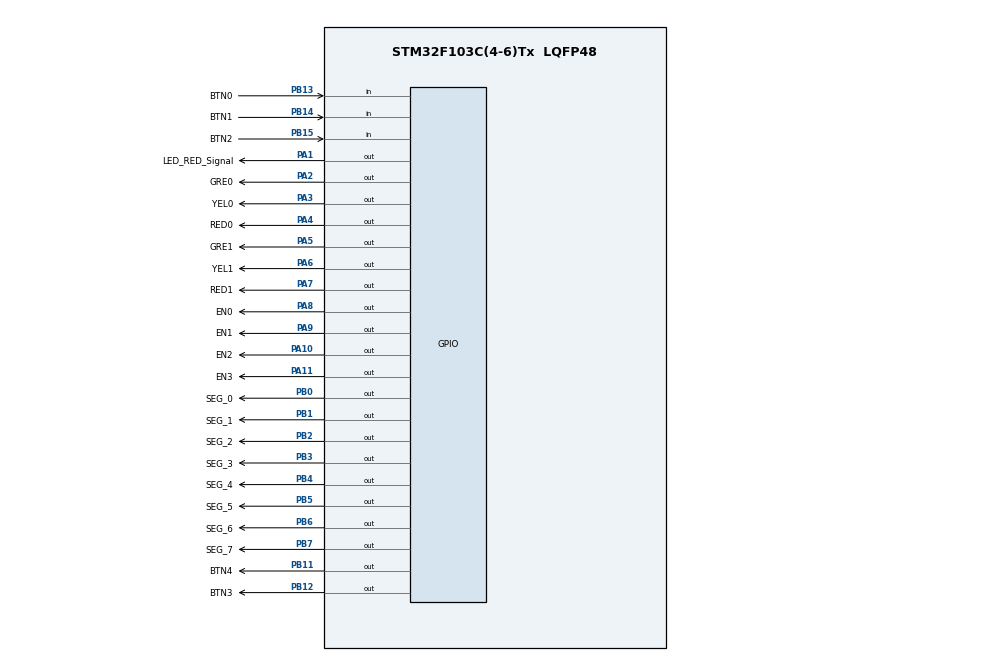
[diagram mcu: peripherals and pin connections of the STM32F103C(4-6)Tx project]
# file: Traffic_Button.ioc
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Mcu.Family=STM32F1
Mcu.Name=STM32F103C(4-6)Tx
Mcu.Package=LQFP48
NVIC.PriorityGroup=NVIC_PRIORITYGROUP_4
NVIC.TIM2_IRQn=true\:0\:0\:false\:false\:true\:true\:true\:true
PA1.GPIO_Label=LED_RED_Signal
PA1.Signal=GPIO_Output
PA10.GPIO_Label=EN2
PA10.Signal=GPIO_Output
PA11.GPIO_Label=EN3
PA11.Signal=GPIO_Output
PA2.GPIO_Label=GRE0
PA2.Signal=GPIO_Output
PA3.GPIO_Label=YEL0
PA3.Signal=GPIO_Output
PA4.GPIO_Label=RED0
PA4.Signal=GPIO_Output
PA5.GPIO_Label=GRE1
PA5.Signal=GPIO_Output
PA6.GPIO_Label=YEL1
PA6.Signal=GPIO_Output
PA7.GPIO_Label=RED1
PA7.Signal=GPIO_Output
PA8.GPIO_Label=EN0
PA8.Signal=GPIO_Output
PA9.GPIO_Label=EN1
PA9.Signal=GPIO_Output
PB0.GPIO_Label=SEG_0
PB0.Signal=GPIO_Output
PB1.GPIO_Label=SEG_1
PB1.Signal=GPIO_Output
PB11.GPIO_Label=BTN4
PB11.Signal=GPIO_Output
PB12.GPIO_Label=BTN3
PB12.Signal=GPIO_Output
PB13.GPIO_Label=BTN0
PB13.Signal=GPIO_Input
PB14.GPIO_Label=BTN1
PB14.Signal=GPIO_Input
PB15.GPIO_Label=BTN2
PB15.Signal=GPIO_Input
PB2.GPIO_Label=SEG_2
PB2.Signal=GPIO_Output
PB3.GPIO_Label=SEG_3
PB3.Signal=GPIO_Output
PB4.GPIO_Label=SEG_4
PB4.Signal=GPIO_Output
PB5.GPIO_Label=SEG_5
PB5.Signal=GPIO_Output
PB6.GPIO_Label=SEG_6
PB6.Signal=GPIO_Output
PB7.GPIO_Label=SEG_7
PB7.Signal=GPIO_Output
ProjectManager.HeapSize=0x200
ProjectManager.StackSize=0x400
ProjectManager.TargetToolchain=STM32CubeIDE
RCC.APB1Freq_Value=8000000
RCC.APB2Freq_Value=8000000
TIM2.Period=9
TIM2.Prescaler=799
VP_SYS_VS_ND.Mode=No_Debug
VP_TIM2_VS_ClockSourceINT.Mode=Internal
board=custom

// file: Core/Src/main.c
/* USER CODE BEGIN Header */
/**
  ******************************************************************************
  * @file           : main.c
  * @brief          : Main program body
  ******************************************************************************
  * @attention
  *
  * Copyright (c) 2025 STMicroelectronics.
  * All rights reserved.
  *
  * This software is licensed under terms that can be found in the LICENSE file
  * in the root directory of this software component.
  * If no LICENSE file comes with this software, it is provided AS-IS.
  *
  ******************************************************************************
  */
/* USER CODE END Header */
#include "main.h"
#include "tim.h"
#include "gpio.h"

/* USER CODE BEGIN Includes */
#include "traffic_light_config.h"
#include "traffic_light_manual.h"
#include "traffic_light_automatic.h"
#include "global.h"
/* USER CODE END Includes */

/* USER CODE BEGIN PM */
void init_system();
void fsm_manual();
void fsm_automatic();
void fsm_config();
/* USER CODE END PM */

/* USER CODE BEGIN PV */
SystemState_t system_state = AUTOMATIC_MODE;
AutomaticState_t status_automatic = INIT_RED_GRE;
ConfigState_t status_config = INIT_MODE2;
ManualState_t status_manual = INIT_SYSTEM;
/* USER CODE END PV */

void SystemClock_Config(void);

int main(void)
{

  /* MCU Configuration--------------------------------------------------------*/

  /* Reset of all peripherals, Initializes the Flash interface and the Systick. */
  HAL_Init();

  /* Configure the system clock */
  SystemClock_Config();

  /* Initialize all configured peripherals */
  MX_GPIO_Init();
  MX_TIM2_Init();
  /* USER CODE BEGIN 2 */

  init_system();
  /* USER CODE END 2 */

  /* Infinite loop */
  /* USER CODE BEGIN WHILE */
  while (1)
  {
	  if(isFlag(FLAG_BUTTON)){
		  	  button_scan_all();
		     setTimer(FLAG_BUTTON, 10);
	  }
//	  if(isFlag(LED_DEBUG)){
//		  HAL_GPIO_TogglePin(GPIOA, LED_RED_Signal_Pin);
//		  setTimer(LED_DEBUG, 500);
//	  }

//	 fsm_manual();
	 fsm_automatic();
	 fsm_config();
	 fsm_traffic_stop();
    /* USER CODE END WHILE */

  }
}

void SystemClock_Config(void)
{
  RCC_OscInitTypeDef RCC_OscInitStruct = {0};
  RCC_ClkInitTypeDef RCC_ClkInitStruct = {0};

  /** Initializes the RCC Oscillators according to the specified parameters
  * in the RCC_OscInitTypeDef structure.
  */
  RCC_OscInitStruct.OscillatorType = RCC_OSCILLATORTYPE_HSI;
  RCC_OscInitStruct.HSIState = RCC_HSI_ON;
  RCC_OscInitStruct.HSICalibrationValue = RCC_HSICALIBRATION_DEFAULT;
  RCC_OscInitStruct.PLL.PLLState = RCC_PLL_NONE;
  if (HAL_RCC_OscConfig(&RCC_OscInitStruct) != HAL_OK)
  {
    Error_Handler();
  }

  /** Initializes the CPU, AHB and APB buses clocks
  */
  RCC_ClkInitStruct.ClockType = RCC_CLOCKTYPE_HCLK|RCC_CLOCKTYPE_SYSCLK
                              |RCC_CLOCKTYPE_PCLK1|RCC_CLOCKTYPE_PCLK2;
  RCC_ClkInitStruct.SYSCLKSource = RCC_SYSCLKSOURCE_HSI;
  RCC_ClkInitStruct.AHBCLKDivider = RCC_SYSCLK_DIV1;
  RCC_ClkInitStruct.APB1CLKDivider = RCC_HCLK_DIV1;
  RCC_ClkInitStruct.APB2CLKDivider = RCC_HCLK_DIV1;

  if (HAL_RCC_ClockConfig(&RCC_ClkInitStruct, FLASH_LATENCY_0) != HAL_OK)
  {
    Error_Handler();
  }
}

/* USER CODE BEGIN 4 */
void init_system(){
	 HAL_TIM_Base_Start_IT(&htim2);
	  setTimer(FLAG_BUTTON, 10);
	  setTimer(LED_DEBUG, 500);

}
void fsm_manual(){
	fsm_traffic_manual();
}
void fsm_automatic(){
	traffic_light_automatic();
}
void fsm_config(){
	fsm_traffic_config();
}
/* USER CODE END 4 */

void Error_Handler(void)
{
  __disable_irq();
  while (1)
  {
  }
}
